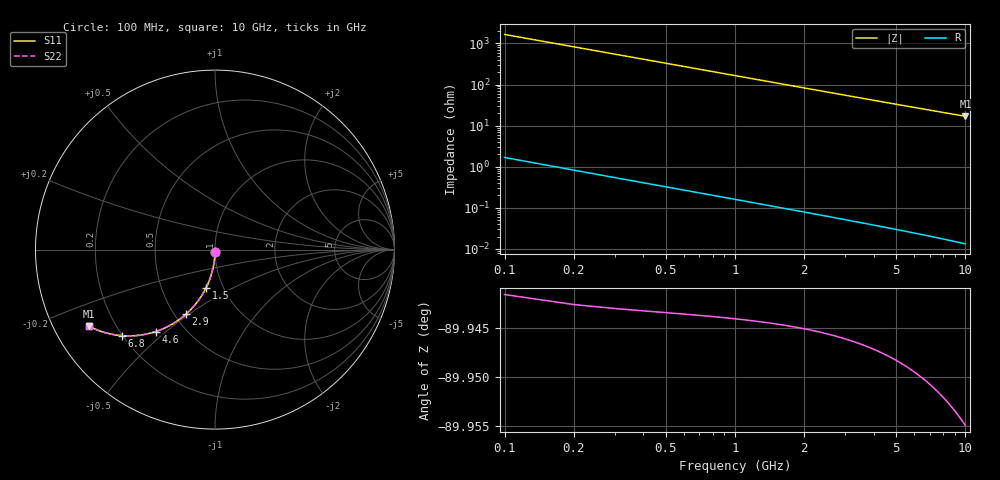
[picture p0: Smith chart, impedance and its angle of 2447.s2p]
# Hz S RI R 50.00
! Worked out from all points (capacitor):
!   100 points, 100 MHz to 10 GHz, reference 50 ohm
!   read as one part in shunt: C = 966 fF near 100 MHz
!   lowest |Z| = 16.9 ohm at 10 GHz (marker M1)
!   S11 on the Smith chart (normalised r, x): 100 MHz: 1.00, -0.03; 1.5 GHz: 0.83, -0.37; 2.9 GHz: 0.57, -0.49; 4.6 GHz: 0.35, -0.46; 6.8 GHz: 0.20, -0.38; 10 GHz: 0.10, -0.28
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1e8  -0.000103 -0.0149  0.9996 -0.0155  0.9996 -0.0155  -0.000103 -0.0149
2e8  -0.000807 -0.0297  0.9989 -0.0309  0.9989 -0.0309  -0.000807 -0.0297
3e8  -0.00197 -0.0446  0.9977 -0.0463  0.9977 -0.0463  -0.00197 -0.0446
4e8  -0.00359 -0.0593  0.9961 -0.0616  0.9961 -0.0616  -0.00359 -0.0593
5e8  -0.00565 -0.074  0.9941 -0.0769  0.9941 -0.0769  -0.00565 -0.074
6e8  -0.00817 -0.0886  0.9915 -0.092  0.9915 -0.092  -0.00817 -0.0886
7e8  -0.0111 -0.103  0.9886 -0.1071  0.9886 -0.1071  -0.0111 -0.103
9e8  -0.0183 -0.1315  0.9814 -0.1367  0.9814 -0.1367  -0.0183 -0.1315
1.2e9  -0.0321 -0.1728  0.9675 -0.1797  0.9675 -0.1797  -0.0321 -0.1728
1.5e9  -0.0494 -0.2121  0.9503 -0.2208  0.9503 -0.2208  -0.0494 -0.2121
1.8e9  -0.0696 -0.2491  0.9301 -0.2594  0.9301 -0.2594  -0.0696 -0.2491
2.3e9  -0.1089 -0.3047  0.8907 -0.3179  0.8907 -0.3179  -0.1089 -0.3047
2.9e9  -0.1628 -0.3606  0.8367 -0.3773  0.8367 -0.3773  -0.1628 -0.3606
3.4e9  -0.2111 -0.398  0.7884 -0.4176  0.7884 -0.4176  -0.2111 -0.398
4e9  -0.2706 -0.4324  0.7288 -0.4554  0.7288 -0.4554  -0.2706 -0.4324
4.6e9  -0.3295 -0.4563  0.6698 -0.4829  0.6698 -0.4829  -0.3295 -0.4563
5.1e9  -0.377 -0.4694  0.6223 -0.499  0.6223 -0.499  -0.377 -0.4694
5.9e9  -0.4481 -0.4797  0.551 -0.5139  0.551 -0.5139  -0.4481 -0.4797
6.7e9  -0.5123 -0.4798  0.4866 -0.5188  0.4866 -0.5188  -0.5123 -0.4798
6.8e9  -0.5198 -0.4793  0.4791 -0.5188  0.4791 -0.5188  -0.5198 -0.4793
8.4e9  -0.6246 -0.4589  0.3739 -0.5081  0.3739 -0.5081  -0.6246 -0.4589
1e10  -0.7039 -0.426  0.294 -0.485  0.294 -0.485  -0.7039 -0.426
